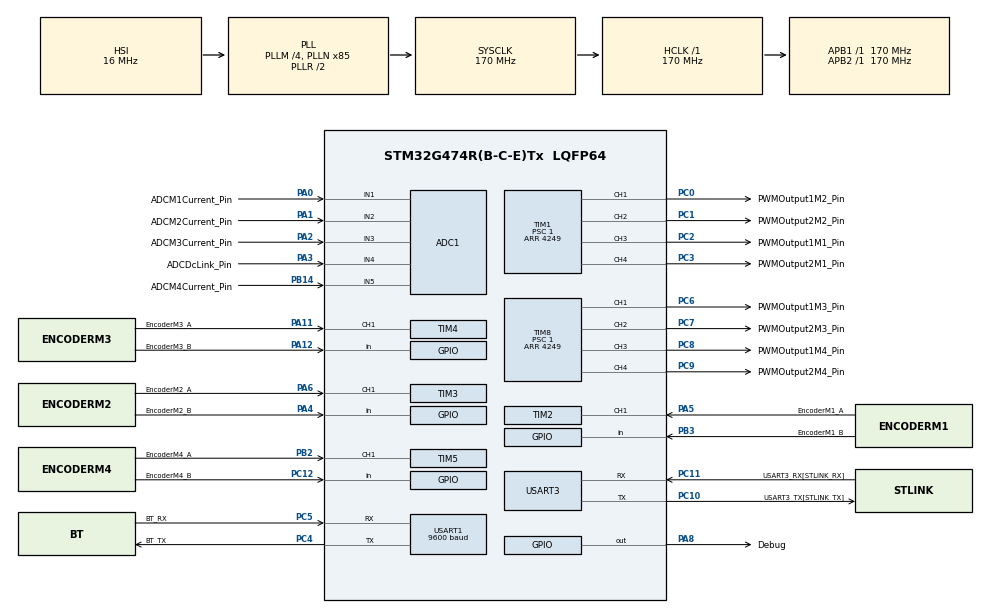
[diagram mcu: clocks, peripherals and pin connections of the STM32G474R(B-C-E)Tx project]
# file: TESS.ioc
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ADC1.Channel-0\#ChannelRegularConversion=ADC_CHANNEL_1
ADC1.Channel-5\#ChannelRegularConversion=ADC_CHANNEL_2
ADC1.Channel-6\#ChannelRegularConversion=ADC_CHANNEL_3
ADC1.Channel-7\#ChannelRegularConversion=ADC_CHANNEL_4
ADC1.Channel-8\#ChannelRegularConversion=ADC_CHANNEL_5
ADC1.ClockPrescaler=ADC_CLOCK_SYNC_PCLK_DIV4
ADC1.ContinuousConvMode=DISABLE
ADC1.DMAContinuousRequests=ENABLE
ADC1.EOCSelection=ADC_EOC_SEQ_CONV
ADC1.EnableInjectedConversion=DISABLE
ADC1.ExternalTrigConv=ADC_EXTERNALTRIG_T1_TRGO
ADC1.GainCompensation=3300
ADC1.NbrOfConversion=5
ADC1.NbrOfConversionFlag=1
ADC1.OffsetNumber-0\#ChannelRegularConversion=ADC_OFFSET_NONE
ADC1.OffsetNumber-5\#ChannelRegularConversion=ADC_OFFSET_NONE
ADC1.OffsetNumber-6\#ChannelRegularConversion=ADC_OFFSET_NONE
ADC1.OffsetNumber-7\#ChannelRegularConversion=ADC_OFFSET_NONE
ADC1.OffsetNumber-8\#ChannelRegularConversion=ADC_OFFSET_NONE
ADC1.OversamplingMode=DISABLE
ADC1.Rank-0\#ChannelRegularConversion=1
ADC1.Rank-5\#ChannelRegularConversion=2
ADC1.Rank-6\#ChannelRegularConversion=3
ADC1.Rank-7\#ChannelRegularConversion=4
ADC1.Rank-8\#ChannelRegularConversion=5
ADC1.SamplingTime-0\#ChannelRegularConversion=ADC_SAMPLETIME_640CYCLES_5
ADC1.SamplingTime-5\#ChannelRegularConversion=ADC_SAMPLETIME_640CYCLES_5
ADC1.SamplingTime-6\#ChannelRegularConversion=ADC_SAMPLETIME_640CYCLES_5
ADC1.SamplingTime-7\#ChannelRegularConversion=ADC_SAMPLETIME_640CYCLES_5
ADC1.SamplingTime-8\#ChannelRegularConversion=ADC_SAMPLETIME_640CYCLES_5
ADC1.master=1
Dma.ADC1.0.Direction=DMA_PERIPH_TO_MEMORY
Dma.ADC1.0.EventEnable=DISABLE
Dma.ADC1.0.Instance=DMA1_Channel1
Dma.ADC1.0.MemDataAlignment=DMA_MDATAALIGN_HALFWORD
Dma.ADC1.0.MemInc=DMA_MINC_ENABLE
Dma.ADC1.0.Mode=DMA_CIRCULAR
Dma.ADC1.0.PeriphDataAlignment=DMA_PDATAALIGN_HALFWORD
Dma.ADC1.0.PeriphInc=DMA_PINC_DISABLE
Dma.ADC1.0.Polarity=HAL_DMAMUX_REQ_GEN_RISING
Dma.ADC1.0.Priority=DMA_PRIORITY_MEDIUM
Dma.ADC1.0.RequestNumber=1
Dma.ADC1.0.SignalID=NONE
Dma.ADC1.0.SyncEnable=DISABLE
Dma.ADC1.0.SyncPolarity=HAL_DMAMUX_SYNC_NO_EVENT
Dma.ADC1.0.SyncRequestNumber=1
Dma.ADC1.0.SyncSignalID=NONE
Dma.Request0=ADC1
Dma.Request1=USART1_RX
Dma.USART1_RX.1.Direction=DMA_PERIPH_TO_MEMORY
Dma.USART1_RX.1.EventEnable=DISABLE
Dma.USART1_RX.1.Instance=DMA1_Channel2
Dma.USART1_RX.1.MemDataAlignment=DMA_MDATAALIGN_BYTE
Dma.USART1_RX.1.MemInc=DMA_MINC_ENABLE
Dma.USART1_RX.1.Mode=DMA_CIRCULAR
Dma.USART1_RX.1.PeriphDataAlignment=DMA_PDATAALIGN_BYTE
Dma.USART1_RX.1.PeriphInc=DMA_PINC_DISABLE
Dma.USART1_RX.1.Polarity=HAL_DMAMUX_REQ_GEN_RISING
Dma.USART1_RX.1.Priority=DMA_PRIORITY_LOW
Dma.USART1_RX.1.RequestNumber=1
Dma.USART1_RX.1.SignalID=NONE
Dma.USART1_RX.1.SyncEnable=DISABLE
Dma.USART1_RX.1.SyncPolarity=HAL_DMAMUX_SYNC_NO_EVENT
Dma.USART1_RX.1.SyncRequestNumber=1
Dma.USART1_RX.1.SyncSignalID=NONE
Mcu.Family=STM32G4
Mcu.Name=STM32G474R(B-C-E)Tx
Mcu.Package=LQFP64
NVIC.ADC1_2_IRQn=true\:0\:2\:false\:false\:true\:true\:true\:true
NVIC.DMA1_Channel1_IRQn=true\:0\:1\:false\:false\:true\:true\:true\:true
NVIC.DMA1_Channel2_IRQn=true\:0\:3\:true\:false\:true\:true\:true\:true
NVIC.PriorityGroup=NVIC_PRIORITYGROUP_2
NVIC.TIM2_IRQn=true\:1\:0\:true\:false\:true\:true\:true\:true
NVIC.TIM3_IRQn=true\:1\:1\:true\:false\:true\:true\:true\:true
NVIC.TIM4_IRQn=true\:1\:2\:true\:false\:true\:true\:true\:true
NVIC.TIM5_IRQn=true\:1\:3\:true\:false\:true\:true\:true\:true
NVIC.TIM6_DAC_IRQn=true\:3\:0\:false\:false\:true\:false\:true\:true
NVIC.TimeBase=TIM6_DAC_IRQn
NVIC.TimeBaseIP=TIM6
NVIC.USART1_IRQn=true\:2\:0\:true\:false\:true\:true\:true\:true
NVIC.USART3_IRQn=true\:2\:1\:true\:false\:true\:true\:true\:true
PA0.GPIO_Label=ADCM1Current_Pin
PA0.Mode=IN1-Single-Ended
PA0.Signal=ADC1_IN1
PA1.GPIO_Label=ADCM2Current_Pin
PA1.Mode=IN2-Single-Ended
PA1.Signal=ADC1_IN2
PA11.GPIO_Label=EncoderM3_A
PA11.GPIO_Speed=GPIO_SPEED_FREQ_MEDIUM
PA11.Signal=S_TIM4_CH1
PA12.GPIO_Label=EncoderM3_B
PA12.Signal=GPIO_Input
PA13.Mode=Serial_Wire
PA13.Signal=SYS_JTMS-SWDIO
PA14.Mode=Serial_Wire
PA14.Signal=SYS_JTCK-SWCLK
PA2.GPIO_Label=ADCM3Current_Pin
PA2.Mode=IN3-Single-Ended
PA2.Signal=ADC1_IN3
PA3.GPIO_Label=ADCDcLink_Pin
PA3.Mode=IN4-Single-Ended
PA3.Signal=ADC1_IN4
PA4.GPIO_Label=EncoderM2_B
PA4.Signal=GPIO_Input
PA5.GPIO_Label=EncoderM1_A
PA5.GPIO_Speed=GPIO_SPEED_FREQ_MEDIUM
PA5.Signal=S_TIM2_CH1
PA6.GPIO_Label=EncoderM2_A
PA6.GPIO_Speed=GPIO_SPEED_FREQ_MEDIUM
PA6.Signal=S_TIM3_CH1
PA8.GPIO_Label=Debug
PA8.Signal=GPIO_Output
PB14.GPIO_Label=ADCM4Current_Pin
PB14.Mode=IN5-Single-Ended
PB14.Signal=ADC1_IN5
PB2.GPIO_Label=EncoderM4_A
PB2.GPIO_Speed=GPIO_SPEED_FREQ_MEDIUM
PB2.Signal=S_TIM5_CH1
PB3.GPIO_Label=EncoderM1_B
PB3.Signal=GPIO_Input
PC0.GPIO_Label=PWMOutput1M2_Pin
PC0.GPIO_Speed=GPIO_SPEED_FREQ_MEDIUM
PC0.Signal=S_TIM1_CH1
PC1.GPIO_Label=PWMOutput2M2_Pin
PC1.GPIO_Speed=GPIO_SPEED_FREQ_MEDIUM
PC1.Signal=S_TIM1_CH2
PC10.GPIO_Label=USART3_TX[STLINK_TX]
PC10.GPIO_Speed=GPIO_SPEED_FREQ_MEDIUM
PC10.Mode=Asynchronous
PC10.Signal=USART3_TX
PC11.GPIO_Label=USART3_RX[STLINK_RX]
PC11.GPIO_Speed=GPIO_SPEED_FREQ_MEDIUM
PC11.Mode=Asynchronous
PC11.Signal=USART3_RX
PC12.GPIO_Label=EncoderM4_B
PC12.Signal=GPIO_Input
PC2.GPIO_Label=PWMOutput1M1_Pin
PC2.GPIO_Speed=GPIO_SPEED_FREQ_MEDIUM
PC2.Signal=S_TIM1_CH3
PC3.GPIO_Label=PWMOutput2M1_Pin
PC3.GPIO_Speed=GPIO_SPEED_FREQ_MEDIUM
PC3.Signal=S_TIM1_CH4
PC4.GPIO_Label=BT_TX
PC4.Mode=Asynchronous
PC4.Signal=USART1_TX
PC5.GPIO_Label=BT_RX
PC5.Mode=Asynchronous
PC5.Signal=USART1_RX
PC6.GPIO_Label=PWMOutput1M3_Pin
PC6.GPIO_Speed=GPIO_SPEED_FREQ_MEDIUM
PC6.Signal=S_TIM8_CH1
PC7.GPIO_Label=PWMOutput2M3_Pin
PC7.GPIO_Speed=GPIO_SPEED_FREQ_MEDIUM
PC7.Signal=S_TIM8_CH2
PC8.GPIO_Label=PWMOutput1M4_Pin
PC8.GPIO_Speed=GPIO_SPEED_FREQ_MEDIUM
PC8.Signal=S_TIM8_CH3
PC9.GPIO_Label=PWMOutput2M4_Pin
PC9.GPIO_Speed=GPIO_SPEED_FREQ_MEDIUM
PC9.Signal=S_TIM8_CH4
ProjectManager.HeapSize=0x200
ProjectManager.StackSize=0x400
ProjectManager.TargetToolchain=STM32CubeIDE
RCC.ADC12Freq_Value=170000000
RCC.ADC345Freq_Value=170000000
RCC.AHBFreq_Value=170000000
RCC.APB1Freq_Value=170000000
RCC.APB1TimFreq_Value=170000000
RCC.APB2Freq_Value=170000000
RCC.APB2TimFreq_Value=170000000
RCC.CK48CLockSelection=RCC_USBCLKSOURCE_HSI48
RCC.CortexFreq_Value=170000000
RCC.EXTERNAL_CLOCK_VALUE=12288000
RCC.HCLKFreq_Value=170000000
RCC.HSE_VALUE=8000000
RCC.HSI48_VALUE=48000000
RCC.HSI_VALUE=16000000
RCC.LSE_VALUE=32768
RCC.PLLM=RCC_PLLM_DIV4
RCC.PLLN=85
RCC.PLLP=RCC_PLLP_DIV8
RCC.PLLQ=RCC_PLLQ_DIV8
RCC.SYSCLKFreq_VALUE=170000000
RCC.SYSCLKSource=RCC_SYSCLKSOURCE_PLLCLK
RCC.USBFreq_Value=48000000
RCC.VCOOutputFreq_Value=340000000
SH.S_TIM1_CH1.0=TIM1_CH1,PWM Generation1 CH1
SH.S_TIM1_CH2.0=TIM1_CH2,PWM Generation2 CH2
SH.S_TIM1_CH3.0=TIM1_CH3,PWM Generation3 CH3
SH.S_TIM1_CH4.0=TIM1_CH4,PWM Generation4 CH4
SH.S_TIM2_CH1.0=TIM2_CH1,PWM_Input_1
SH.S_TIM3_CH1.0=TIM3_CH1,PWM_Input_1
SH.S_TIM4_CH1.0=TIM4_CH1,PWM_Input_1
SH.S_TIM5_CH1.0=TIM5_CH1,PWM_Input_1
SH.S_TIM8_CH1.0=TIM8_CH1,PWM Generation1 CH1
SH.S_TIM8_CH2.0=TIM8_CH2,PWM Generation2 CH2
SH.S_TIM8_CH3.0=TIM8_CH3,PWM Generation3 CH3
SH.S_TIM8_CH4.0=TIM8_CH4,PWM Generation4 CH4
TIM1.Channel-PWM\ Generation1\ CH1=TIM_CHANNEL_1
TIM1.Channel-PWM\ Generation2\ CH2=TIM_CHANNEL_2
TIM1.Channel-PWM\ Generation3\ CH3=TIM_CHANNEL_3
TIM1.Channel-PWM\ Generation4\ CH4=TIM_CHANNEL_4
TIM1.CounterMode=TIM_COUNTERMODE_CENTERALIGNED2
TIM1.Dithering=Disable
TIM1.OCMode_PWM-PWM\ Generation2\ CH2=TIM_OCMODE_PWM1
TIM1.OCMode_PWM-PWM\ Generation4\ CH4=TIM_OCMODE_PWM1
TIM1.PeriodNoDither=4249
TIM1.Prescaler=1
TIM1.PulseNoDither_1=0
TIM1.PulseNoDither_2=0
TIM1.RepetitionCounter=3
TIM1.TIM_MasterOutputTrigger=TIM_TRGO_UPDATE
TIM1.TIM_MasterOutputTrigger2=TIM_TRGO2_ENABLE
TIM1.TIM_MasterSlaveMode=TIM_MASTERSLAVEMODE_ENABLE
TIM2.PeriodNoDither=65535
TIM2.Prescaler=399
TIM3.Prescaler=399
TIM4.Prescaler=399
TIM5.PeriodNoDither=65535
TIM5.Prescaler=399
TIM8.Channel-PWM\ Generation1\ CH1=TIM_CHANNEL_1
TIM8.Channel-PWM\ Generation2\ CH2=TIM_CHANNEL_2
TIM8.Channel-PWM\ Generation3\ CH3=TIM_CHANNEL_3
TIM8.Channel-PWM\ Generation4\ CH4=TIM_CHANNEL_4
TIM8.CounterMode=TIM_COUNTERMODE_CENTERALIGNED2
TIM8.Dithering=Disable
TIM8.PeriodNoDither=4249
TIM8.Prescaler=1
TIM8.RepetitionCounter=1
TIM8.TIM_MasterSlaveMode=TIM_MASTERSLAVEMODE_DISABLE
USART1.BaudRate=9600
USART1.DMADisableonRxErrorParam=ADVFEATURE_DMA_DISABLEONRXERROR
USART1.FIFOMode=FIFOMODE_DISABLE
USART1.Mode=MODE_RX
USART1.VirtualMode-Asynchronous=VM_ASYNC
USART3.ClockPrescaler=PRESCALER_DIV4
USART3.VirtualMode-Asynchronous=VM_ASYNC
USART3.WordLength=WORDLENGTH_8B
VP_ADC1_Vref_Input.Mode=IN-Vrefint
VP_SYS_VS_DBSignals.Mode=DisableDeadBatterySignals
VP_SYS_VS_tim6.Mode=TIM6
VP_TIM1_VS_ClockSourceINT.Mode=Internal
VP_TIM8_VS_ClockSourceINT.Mode=Internal
VP_TIM8_VS_ClockSourceITR.Mode=TriggerSource_ITR0
VP_TIM8_VS_ControllerModeTrigger.Mode=Trigger Mode
board=B-G474E-DPOW1

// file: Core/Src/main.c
/* USER CODE BEGIN Header */
/**
  ******************************************************************************
  * @file           : main.c
  * @brief          : Main program body
  ******************************************************************************
  * @attention
  *
  * <h2><center>&copy; Copyright (c) 2021 STMicroelectronics.
  * All rights reserved.</center></h2>
  *
  * This software component is licensed by ST under BSD 3-Clause license,
  * the "License"; You may not use this file except in compliance with the
  * License. You may obtain a copy of the License at:
  *                        opensource.org/licenses/BSD-3-Clause
  *
  ******************************************************************************
  */
/* USER CODE END Header */
#include "main.h"

/* USER CODE BEGIN Includes */
#include "tess_main.h"
/* USER CODE END Includes */

 ADC_HandleTypeDef hadc1;
DMA_HandleTypeDef hdma_adc1;

TIM_HandleTypeDef htim1;
TIM_HandleTypeDef htim2;
TIM_HandleTypeDef htim3;
TIM_HandleTypeDef htim4;
TIM_HandleTypeDef htim5;
TIM_HandleTypeDef htim8;

UART_HandleTypeDef huart1;
UART_HandleTypeDef huart3;
DMA_HandleTypeDef hdma_usart1_rx;

void SystemClock_Config(void);
static void MX_GPIO_Init(void);
static void MX_DMA_Init(void);
static void MX_USART3_UART_Init(void);
static void MX_TIM1_Init(void);
static void MX_ADC1_Init(void);
static void MX_TIM8_Init(void);
static void MX_USART1_UART_Init(void);
static void MX_TIM2_Init(void);
static void MX_TIM3_Init(void);
static void MX_TIM4_Init(void);
static void MX_TIM5_Init(void);

int main(void)
{

  /* MCU Configuration--------------------------------------------------------*/

  /* Reset of all peripherals, Initializes the Flash interface and the Systick. */
  HAL_Init();

  /* Configure the system clock */
  SystemClock_Config();

  /* Initialize all configured peripherals */
  MX_GPIO_Init();
  MX_DMA_Init();
  MX_USART3_UART_Init();
  MX_TIM1_Init();
  MX_ADC1_Init();
  MX_TIM8_Init();
  MX_USART1_UART_Init();
  MX_TIM2_Init();
  MX_TIM3_Init();
  MX_TIM4_Init();
  MX_TIM5_Init();
  /* USER CODE BEGIN 2 */
  TessMainInit();

  /* USER CODE END 2 */

  /* Infinite loop */
  while (1)
  {

  }
}

void SystemClock_Config(void)
{
  RCC_OscInitTypeDef RCC_OscInitStruct = {0};
  RCC_ClkInitTypeDef RCC_ClkInitStruct = {0};

  /** Configure the main internal regulator output voltage
  */
  HAL_PWREx_ControlVoltageScaling(PWR_REGULATOR_VOLTAGE_SCALE1_BOOST);

  /** Initializes the RCC Oscillators according to the specified parameters
  * in the RCC_OscInitTypeDef structure.
  */
  RCC_OscInitStruct.OscillatorType = RCC_OSCILLATORTYPE_HSI;
  RCC_OscInitStruct.HSIState = RCC_HSI_ON;
  RCC_OscInitStruct.HSICalibrationValue = RCC_HSICALIBRATION_DEFAULT;
  RCC_OscInitStruct.PLL.PLLState = RCC_PLL_ON;
  RCC_OscInitStruct.PLL.PLLSource = RCC_PLLSOURCE_HSI;
  RCC_OscInitStruct.PLL.PLLM = RCC_PLLM_DIV4;
  RCC_OscInitStruct.PLL.PLLN = 85;
  RCC_OscInitStruct.PLL.PLLP = RCC_PLLP_DIV8;
  RCC_OscInitStruct.PLL.PLLQ = RCC_PLLQ_DIV8;
  RCC_OscInitStruct.PLL.PLLR = RCC_PLLR_DIV2;
  if (HAL_RCC_OscConfig(&RCC_OscInitStruct) != HAL_OK)
  {
    Error_Handler();
  }

  /** Initializes the CPU, AHB and APB buses clocks
  */
  RCC_ClkInitStruct.ClockType = RCC_CLOCKTYPE_HCLK|RCC_CLOCKTYPE_SYSCLK
                              |RCC_CLOCKTYPE_PCLK1|RCC_CLOCKTYPE_PCLK2;
  RCC_ClkInitStruct.SYSCLKSource = RCC_SYSCLKSOURCE_PLLCLK;
  RCC_ClkInitStruct.AHBCLKDivider = RCC_SYSCLK_DIV1;
  RCC_ClkInitStruct.APB1CLKDivider = RCC_HCLK_DIV1;
  RCC_ClkInitStruct.APB2CLKDivider = RCC_HCLK_DIV1;

  if (HAL_RCC_ClockConfig(&RCC_ClkInitStruct, FLASH_LATENCY_4) != HAL_OK)
  {
    Error_Handler();
  }
}

static void MX_ADC1_Init(void)
{

  ADC_MultiModeTypeDef multimode = {0};
  ADC_ChannelConfTypeDef sConfig = {0};

  /** Common config
  */
  hadc1.Instance = ADC1;
  hadc1.Init.ClockPrescaler = ADC_CLOCK_SYNC_PCLK_DIV4;
  hadc1.Init.Resolution = ADC_RESOLUTION_12B;
  hadc1.Init.DataAlign = ADC_DATAALIGN_RIGHT;
  hadc1.Init.GainCompensation = 3300;
  hadc1.Init.ScanConvMode = ADC_SCAN_ENABLE;
  hadc1.Init.EOCSelection = ADC_EOC_SEQ_CONV;
  hadc1.Init.LowPowerAutoWait = DISABLE;
  hadc1.Init.ContinuousConvMode = DISABLE;
  hadc1.Init.NbrOfConversion = 5;
  hadc1.Init.DiscontinuousConvMode = DISABLE;
  hadc1.Init.ExternalTrigConv = ADC_EXTERNALTRIG_T1_TRGO;
  hadc1.Init.ExternalTrigConvEdge = ADC_EXTERNALTRIGCONVEDGE_RISING;
  hadc1.Init.DMAContinuousRequests = ENABLE;
  hadc1.Init.Overrun = ADC_OVR_DATA_PRESERVED;
  hadc1.Init.OversamplingMode = DISABLE;
  if (HAL_ADC_Init(&hadc1) != HAL_OK)
  {
    Error_Handler();
  }

  /** Configure the ADC multi-mode
  */
  multimode.Mode = ADC_MODE_INDEPENDENT;
  if (HAL_ADCEx_MultiModeConfigChannel(&hadc1, &multimode) != HAL_OK)
  {
    Error_Handler();
  }

  /** Configure Regular Channel
  */
  sConfig.Channel = ADC_CHANNEL_1;
  sConfig.Rank = ADC_REGULAR_RANK_1;
  sConfig.SamplingTime = ADC_SAMPLETIME_640CYCLES_5;
  sConfig.SingleDiff = ADC_SINGLE_ENDED;
  sConfig.OffsetNumber = ADC_OFFSET_NONE;
  sConfig.Offset = 0;
  if (HAL_ADC_ConfigChannel(&hadc1, &sConfig) != HAL_OK)
  {
    Error_Handler();
  }

  /** Configure Regular Channel
  */
  sConfig.Channel = ADC_CHANNEL_2;
  sConfig.Rank = ADC_REGULAR_RANK_2;
  if (HAL_ADC_ConfigChannel(&hadc1, &sConfig) != HAL_OK)
  {
    Error_Handler();
  }

  /** Configure Regular Channel
  */
  sConfig.Channel = ADC_CHANNEL_3;
  sConfig.Rank = ADC_REGULAR_RANK_3;
  if (HAL_ADC_ConfigChannel(&hadc1, &sConfig) != HAL_OK)
  {
    Error_Handler();
  }

  /** Configure Regular Channel
  */
  sConfig.Channel = ADC_CHANNEL_4;
  sConfig.Rank = ADC_REGULAR_RANK_4;
  if (HAL_ADC_ConfigChannel(&hadc1, &sConfig) != HAL_OK)
  {
    Error_Handler();
  }

  /** Configure Regular Channel
  */
  sConfig.Channel = ADC_CHANNEL_5;
  sConfig.Rank = ADC_REGULAR_RANK_5;
  if (HAL_ADC_ConfigChannel(&hadc1, &sConfig) != HAL_OK)
  {
    Error_Handler();
  }
  /* USER CODE BEGIN ADC1_Init 2 */

  if (HAL_OK == HAL_ADCEx_Calibration_Start(&hadc1,ADC_SINGLE_ENDED))
  {
      ADC_Enable(&hadc1);
      HAL_ADCEx_Calibration_SetValue(&hadc1,ADC_SINGLE_ENDED, HAL_ADCEx_Calibration_GetValue(&hadc1,ADC_SINGLE_ENDED));
      ADC_Disable(&hadc1);
  }

  HAL_ADC_Start_DMA(&hadc1, AdcDmaBuffer, ADC_DMA_BUFFER_SIZE);
  __HAL_DMA_DISABLE_IT(&hdma_adc1, DMA_IT_HT);
  /* USER CODE END ADC1_Init 2 */

}

static void MX_TIM1_Init(void)
{

  TIM_ClockConfigTypeDef sClockSourceConfig = {0};
  TIM_MasterConfigTypeDef sMasterConfig = {0};
  TIM_OC_InitTypeDef sConfigOC = {0};
  TIM_BreakDeadTimeConfigTypeDef sBreakDeadTimeConfig = {0};

  htim1.Instance = TIM1;
  htim1.Init.Prescaler = 1;
  htim1.Init.CounterMode = TIM_COUNTERMODE_CENTERALIGNED2;
  htim1.Init.Period = 4249;
  htim1.Init.ClockDivision = TIM_CLOCKDIVISION_DIV1;
  htim1.Init.RepetitionCounter = 3;
  htim1.Init.AutoReloadPreload = TIM_AUTORELOAD_PRELOAD_DISABLE;
  if (HAL_TIM_Base_Init(&htim1) != HAL_OK)
  {
    Error_Handler();
  }
  sClockSourceConfig.ClockSource = TIM_CLOCKSOURCE_INTERNAL;
  if (HAL_TIM_ConfigClockSource(&htim1, &sClockSourceConfig) != HAL_OK)
  {
    Error_Handler();
  }
  if (HAL_TIM_PWM_Init(&htim1) != HAL_OK)
  {
    Error_Handler();
  }
  sMasterConfig.MasterOutputTrigger = TIM_TRGO_UPDATE;
  sMasterConfig.MasterOutputTrigger2 = TIM_TRGO2_ENABLE;
  sMasterConfig.MasterSlaveMode = TIM_MASTERSLAVEMODE_ENABLE;
  if (HAL_TIMEx_MasterConfigSynchronization(&htim1, &sMasterConfig) != HAL_OK)
  {
    Error_Handler();
  }
  sConfigOC.OCMode = TIM_OCMODE_PWM1;
  sConfigOC.Pulse = 0;
  sConfigOC.OCPolarity = TIM_OCPOLARITY_HIGH;
  sConfigOC.OCNPolarity = TIM_OCNPOLARITY_HIGH;
  sConfigOC.OCFastMode = TIM_OCFAST_DISABLE;
  sConfigOC.OCIdleState = TIM_OCIDLESTATE_RESET;
  sConfigOC.OCNIdleState = TIM_OCNIDLESTATE_RESET;
  if (HAL_TIM_PWM_ConfigChannel(&htim1, &sConfigOC, TIM_CHANNEL_1) != HAL_OK)
  {
    Error_Handler();
  }
  if (HAL_TIM_PWM_ConfigChannel(&htim1, &sConfigOC, TIM_CHANNEL_2) != HAL_OK)
  {
    Error_Handler();
  }
  if (HAL_TIM_PWM_ConfigChannel(&htim1, &sConfigOC, TIM_CHANNEL_3) != HAL_OK)
  {
    Error_Handler();
  }
  if (HAL_TIM_PWM_ConfigChannel(&htim1, &sConfigOC, TIM_CHANNEL_4) != HAL_OK)
  {
    Error_Handler();
  }
  sBreakDeadTimeConfig.OffStateRunMode = TIM_OSSR_DISABLE;
  sBreakDeadTimeConfig.OffStateIDLEMode = TIM_OSSI_DISABLE;
  sBreakDeadTimeConfig.LockLevel = TIM_LOCKLEVEL_OFF;
  sBreakDeadTimeConfig.DeadTime = 0;
  sBreakDeadTimeConfig.BreakState = TIM_BREAK_DISABLE;
  sBreakDeadTimeConfig.BreakPolarity = TIM_BREAKPOLARITY_HIGH;
  sBreakDeadTimeConfig.BreakFilter = 0;
  sBreakDeadTimeConfig.BreakAFMode = TIM_BREAK_AFMODE_INPUT;
  sBreakDeadTimeConfig.Break2State = TIM_BREAK2_DISABLE;
  sBreakDeadTimeConfig.Break2Polarity = TIM_BREAK2POLARITY_HIGH;
  sBreakDeadTimeConfig.Break2Filter = 0;
  sBreakDeadTimeConfig.Break2AFMode = TIM_BREAK_AFMODE_INPUT;
  sBreakDeadTimeConfig.AutomaticOutput = TIM_AUTOMATICOUTPUT_DISABLE;
  if (HAL_TIMEx_ConfigBreakDeadTime(&htim1, &sBreakDeadTimeConfig) != HAL_OK)
  {
    Error_Handler();
  }
  HAL_TIM_MspPostInit(&htim1);

}

static void MX_TIM2_Init(void)
{

  TIM_SlaveConfigTypeDef sSlaveConfig = {0};
  TIM_IC_InitTypeDef sConfigIC = {0};
  TIM_MasterConfigTypeDef sMasterConfig = {0};

  htim2.Instance = TIM2;
  htim2.Init.Prescaler = 399;
  htim2.Init.CounterMode = TIM_COUNTERMODE_UP;
  htim2.Init.Period = 65535;
  htim2.Init.ClockDivision = TIM_CLOCKDIVISION_DIV1;
  htim2.Init.AutoReloadPreload = TIM_AUTORELOAD_PRELOAD_DISABLE;
  if (HAL_TIM_IC_Init(&htim2) != HAL_OK)
  {
    Error_Handler();
  }
  sSlaveConfig.SlaveMode = TIM_SLAVEMODE_RESET;
  sSlaveConfig.InputTrigger = TIM_TS_TI1FP1;
  sSlaveConfig.TriggerPolarity = TIM_INPUTCHANNELPOLARITY_RISING;
  sSlaveConfig.TriggerPrescaler = TIM_ICPSC_DIV1;
  sSlaveConfig.TriggerFilter = 0;
  if (HAL_TIM_SlaveConfigSynchro(&htim2, &sSlaveConfig) != HAL_OK)
  {
    Error_Handler();
  }
  sConfigIC.ICPolarity = TIM_INPUTCHANNELPOLARITY_RISING;
  sConfigIC.ICSelection = TIM_ICSELECTION_DIRECTTI;
  sConfigIC.ICPrescaler = TIM_ICPSC_DIV1;
  sConfigIC.ICFilter = 0;
  if (HAL_TIM_IC_ConfigChannel(&htim2, &sConfigIC, TIM_CHANNEL_1) != HAL_OK)
  {
    Error_Handler();
  }
  sConfigIC.ICPolarity = TIM_INPUTCHANNELPOLARITY_FALLING;
  sConfigIC.ICSelection = TIM_ICSELECTION_INDIRECTTI;
  if (HAL_TIM_IC_ConfigChannel(&htim2, &sConfigIC, TIM_CHANNEL_2) != HAL_OK)
  {
    Error_Handler();
  }
  sMasterConfig.MasterOutputTrigger = TIM_TRGO_RESET;
  sMasterConfig.MasterSlaveMode = TIM_MASTERSLAVEMODE_DISABLE;
  if (HAL_TIMEx_MasterConfigSynchronization(&htim2, &sMasterConfig) != HAL_OK)
  {
    Error_Handler();
  }
  /* USER CODE BEGIN TIM2_Init 2 */
  HAL_TIM_IC_Start_IT(&htim2, TIM_CHANNEL_1);
  /* USER CODE END TIM2_Init 2 */

}

static void MX_TIM3_Init(void)
{

  TIM_SlaveConfigTypeDef sSlaveConfig = {0};
  TIM_IC_InitTypeDef sConfigIC = {0};
  TIM_MasterConfigTypeDef sMasterConfig = {0};

  htim3.Instance = TIM3;
  htim3.Init.Prescaler = 399;
  htim3.Init.CounterMode = TIM_COUNTERMODE_UP;
  htim3.Init.Period = 65535;
  htim3.Init.ClockDivision = TIM_CLOCKDIVISION_DIV1;
  htim3.Init.AutoReloadPreload = TIM_AUTORELOAD_PRELOAD_DISABLE;
  if (HAL_TIM_IC_Init(&htim3) != HAL_OK)
  {
    Error_Handler();
  }
  sSlaveConfig.SlaveMode = TIM_SLAVEMODE_RESET;
  sSlaveConfig.InputTrigger = TIM_TS_TI1FP1;
  sSlaveConfig.TriggerPolarity = TIM_INPUTCHANNELPOLARITY_RISING;
  sSlaveConfig.TriggerPrescaler = TIM_ICPSC_DIV1;
  sSlaveConfig.TriggerFilter = 0;
  if (HAL_TIM_SlaveConfigSynchro(&htim3, &sSlaveConfig) != HAL_OK)
  {
    Error_Handler();
  }
  sConfigIC.ICPolarity = TIM_INPUTCHANNELPOLARITY_RISING;
  sConfigIC.ICSelection = TIM_ICSELECTION_DIRECTTI;
  sConfigIC.ICPrescaler = TIM_ICPSC_DIV1;
  sConfigIC.ICFilter = 0;
  if (HAL_TIM_IC_ConfigChannel(&htim3, &sConfigIC, TIM_CHANNEL_1) != HAL_OK)
  {
    Error_Handler();
  }
  sConfigIC.ICPolarity = TIM_INPUTCHANNELPOLARITY_FALLING;
  sConfigIC.ICSelection = TIM_ICSELECTION_INDIRECTTI;
  if (HAL_TIM_IC_ConfigChannel(&htim3, &sConfigIC, TIM_CHANNEL_2) != HAL_OK)
  {
    Error_Handler();
  }
  sMasterConfig.MasterOutputTrigger = TIM_TRGO_RESET;
  sMasterConfig.MasterSlaveMode = TIM_MASTERSLAVEMODE_DISABLE;
  if (HAL_TIMEx_MasterConfigSynchronization(&htim3, &sMasterConfig) != HAL_OK)
  {
    Error_Handler();
  }
  /* USER CODE BEGIN TIM3_Init 2 */
  HAL_TIM_IC_Start_IT(&htim3, TIM_CHANNEL_1);
  /* USER CODE END TIM3_Init 2 */

}

static void MX_TIM4_Init(void)
{

  TIM_SlaveConfigTypeDef sSlaveConfig = {0};
  TIM_IC_InitTypeDef sConfigIC = {0};
  TIM_MasterConfigTypeDef sMasterConfig = {0};

  htim4.Instance = TIM4;
  htim4.Init.Prescaler = 399;
  htim4.Init.CounterMode = TIM_COUNTERMODE_UP;
  htim4.Init.Period = 65535;
  htim4.Init.ClockDivision = TIM_CLOCKDIVISION_DIV1;
  htim4.Init.AutoReloadPreload = TIM_AUTORELOAD_PRELOAD_DISABLE;
  if (HAL_TIM_IC_Init(&htim4) != HAL_OK)
  {
    Error_Handler();
  }
  sSlaveConfig.SlaveMode = TIM_SLAVEMODE_RESET;
  sSlaveConfig.InputTrigger = TIM_TS_TI1FP1;
  sSlaveConfig.TriggerPolarity = TIM_INPUTCHANNELPOLARITY_RISING;
  sSlaveConfig.TriggerPrescaler = TIM_ICPSC_DIV1;
  sSlaveConfig.TriggerFilter = 0;
  if (HAL_TIM_SlaveConfigSynchro(&htim4, &sSlaveConfig) != HAL_OK)
  {
    Error_Handler();
  }
  sConfigIC.ICPolarity = TIM_INPUTCHANNELPOLARITY_RISING;
  sConfigIC.ICSelection = TIM_ICSELECTION_DIRECTTI;
  sConfigIC.ICPrescaler = TIM_ICPSC_DIV1;
  sConfigIC.ICFilter = 0;
  if (HAL_TIM_IC_ConfigChannel(&htim4, &sConfigIC, TIM_CHANNEL_1) != HAL_OK)
  {
    Error_Handler();
  }
  sConfigIC.ICPolarity = TIM_INPUTCHANNELPOLARITY_FALLING;
  sConfigIC.ICSelection = TIM_ICSELECTION_INDIRECTTI;
  if (HAL_TIM_IC_ConfigChannel(&htim4, &sConfigIC, TIM_CHANNEL_2) != HAL_OK)
  {
    Error_Handler();
  }
  sMasterConfig.MasterOutputTrigger = TIM_TRGO_RESET;
  sMasterConfig.MasterSlaveMode = TIM_MASTERSLAVEMODE_DISABLE;
  if (HAL_TIMEx_MasterConfigSynchronization(&htim4, &sMasterConfig) != HAL_OK)
  {
    Error_Handler();
  }
  /* USER CODE BEGIN TIM4_Init 2 */
  HAL_TIM_IC_Start_IT(&htim4, TIM_CHANNEL_1);
  /* USER CODE END TIM4_Init 2 */

}

static void MX_TIM5_Init(void)
{

  TIM_SlaveConfigTypeDef sSlaveConfig = {0};
  TIM_IC_InitTypeDef sConfigIC = {0};
  TIM_MasterConfigTypeDef sMasterConfig = {0};

  htim5.Instance = TIM5;
  htim5.Init.Prescaler = 399;
  htim5.Init.CounterMode = TIM_COUNTERMODE_UP;
  htim5.Init.Period = 65535;
  htim5.Init.ClockDivision = TIM_CLOCKDIVISION_DIV1;
  htim5.Init.AutoReloadPreload = TIM_AUTORELOAD_PRELOAD_DISABLE;
  if (HAL_TIM_IC_Init(&htim5) != HAL_OK)
  {
    Error_Handler();
  }
  sSlaveConfig.SlaveMode = TIM_SLAVEMODE_RESET;
  sSlaveConfig.InputTrigger = TIM_TS_TI1FP1;
  sSlaveConfig.TriggerPolarity = TIM_INPUTCHANNELPOLARITY_RISING;
  sSlaveConfig.TriggerPrescaler = TIM_ICPSC_DIV1;
  sSlaveConfig.TriggerFilter = 0;
  if (HAL_TIM_SlaveConfigSynchro(&htim5, &sSlaveConfig) != HAL_OK)
  {
    Error_Handler();
  }
  sConfigIC.ICPolarity = TIM_INPUTCHANNELPOLARITY_RISING;
  sConfigIC.ICSelection = TIM_ICSELECTION_DIRECTTI;
  sConfigIC.ICPrescaler = TIM_ICPSC_DIV1;
  sConfigIC.ICFilter = 0;
  if (HAL_TIM_IC_ConfigChannel(&htim5, &sConfigIC, TIM_CHANNEL_1) != HAL_OK)
  {
    Error_Handler();
  }
  sConfigIC.ICPolarity = TIM_INPUTCHANNELPOLARITY_FALLING;
  sConfigIC.ICSelection = TIM_ICSELECTION_INDIRECTTI;
  if (HAL_TIM_IC_ConfigChannel(&htim5, &sConfigIC, TIM_CHANNEL_2) != HAL_OK)
  {
    Error_Handler();
  }
  sMasterConfig.MasterOutputTrigger = TIM_TRGO_RESET;
  sMasterConfig.MasterSlaveMode = TIM_MASTERSLAVEMODE_DISABLE;
  if (HAL_TIMEx_MasterConfigSynchronization(&htim5, &sMasterConfig) != HAL_OK)
  {
    Error_Handler();
  }
  /* USER CODE BEGIN TIM5_Init 2 */
  HAL_TIM_IC_Start_IT(&htim5, TIM_CHANNEL_1);
  /* USER CODE END TIM5_Init 2 */

}

static void MX_TIM8_Init(void)
{

  TIM_ClockConfigTypeDef sClockSourceConfig = {0};
  TIM_SlaveConfigTypeDef sSlaveConfig = {0};
  TIM_MasterConfigTypeDef sMasterConfig = {0};
  TIM_OC_InitTypeDef sConfigOC = {0};
  TIM_BreakDeadTimeConfigTypeDef sBreakDeadTimeConfig = {0};

  htim8.Instance = TIM8;
  htim8.Init.Prescaler = 1;
  htim8.Init.CounterMode = TIM_COUNTERMODE_CENTERALIGNED2;
  htim8.Init.Period = 4249;
  htim8.Init.ClockDivision = TIM_CLOCKDIVISION_DIV1;
  htim8.Init.RepetitionCounter = 1;
  htim8.Init.AutoReloadPreload = TIM_AUTORELOAD_PRELOAD_DISABLE;
  if (HAL_TIM_Base_Init(&htim8) != HAL_OK)
  {
    Error_Handler();
  }
  sClockSourceConfig.ClockSource = TIM_CLOCKSOURCE_INTERNAL;
  if (HAL_TIM_ConfigClockSource(&htim8, &sClockSourceConfig) != HAL_OK)
  {
    Error_Handler();
  }
  if (HAL_TIM_PWM_Init(&htim8) != HAL_OK)
  {
    Error_Handler();
  }
  sSlaveConfig.SlaveMode = TIM_SLAVEMODE_TRIGGER;
  sSlaveConfig.InputTrigger = TIM_TS_ITR0;
  if (HAL_TIM_SlaveConfigSynchro(&htim8, &sSlaveConfig) != HAL_OK)
  {
    Error_Handler();
  }
  sMasterConfig.MasterOutputTrigger = TIM_TRGO_RESET;
  sMasterConfig.MasterOutputTrigger2 = TIM_TRGO2_RESET;
  sMasterConfig.MasterSlaveMode = TIM_MASTERSLAVEMODE_DISABLE;
  if (HAL_TIMEx_MasterConfigSynchronization(&htim8, &sMasterConfig) != HAL_OK)
  {
    Error_Handler();
  }
  sConfigOC.OCMode = TIM_OCMODE_PWM1;
  sConfigOC.Pulse = 0;
  sConfigOC.OCPolarity = TIM_OCPOLARITY_HIGH;
  sConfigOC.OCNPolarity = TIM_OCNPOLARITY_HIGH;
  sConfigOC.OCFastMode = TIM_OCFAST_DISABLE;
  sConfigOC.OCIdleState = TIM_OCIDLESTATE_RESET;
  sConfigOC.OCNIdleState = TIM_OCNIDLESTATE_RESET;
  if (HAL_TIM_PWM_ConfigChannel(&htim8, &sConfigOC, TIM_CHANNEL_1) != HAL_OK)
  {
    Error_Handler();
  }
  if (HAL_TIM_PWM_ConfigChannel(&htim8, &sConfigOC, TIM_CHANNEL_2) != HAL_OK)
  {
    Error_Handler();
  }
  if (HAL_TIM_PWM_ConfigChannel(&htim8, &sConfigOC, TIM_CHANNEL_3) != HAL_OK)
  {
    Error_Handler();
  }
  if (HAL_TIM_PWM_ConfigChannel(&htim8, &sConfigOC, TIM_CHANNEL_4) != HAL_OK)
  {
    Error_Handler();
  }
  sBreakDeadTimeConfig.OffStateRunMode = TIM_OSSR_DISABLE;
  sBreakDeadTimeConfig.OffStateIDLEMode = TIM_OSSI_DISABLE;
  sBreakDeadTimeConfig.LockLevel = TIM_LOCKLEVEL_OFF;
  sBreakDeadTimeConfig.DeadTime = 0;
  sBreakDeadTimeConfig.BreakState = TIM_BREAK_DISABLE;
  sBreakDeadTimeConfig.BreakPolarity = TIM_BREAKPOLARITY_HIGH;
  sBreakDeadTimeConfig.BreakFilter = 0;
  sBreakDeadTimeConfig.BreakAFMode = TIM_BREAK_AFMODE_INPUT;
  sBreakDeadTimeConfig.Break2State = TIM_BREAK2_DISABLE;
  sBreakDeadTimeConfig.Break2Polarity = TIM_BREAK2POLARITY_HIGH;
  sBreakDeadTimeConfig.Break2Filter = 0;
  sBreakDeadTimeConfig.Break2AFMode = TIM_BREAK_AFMODE_INPUT;
  sBreakDeadTimeConfig.AutomaticOutput = TIM_AUTOMATICOUTPUT_DISABLE;
  if (HAL_TIMEx_ConfigBreakDeadTime(&htim8, &sBreakDeadTimeConfig) != HAL_OK)
  {
    Error_Handler();
  }
  HAL_TIM_MspPostInit(&htim8);

}

static void MX_USART1_UART_Init(void)
{

  huart1.Instance = USART1;
  huart1.Init.BaudRate = 9600;
  huart1.Init.WordLength = UART_WORDLENGTH_8B;
  huart1.Init.StopBits = UART_STOPBITS_1;
  huart1.Init.Parity = UART_PARITY_NONE;
  huart1.Init.Mode = UART_MODE_RX;
  huart1.Init.HwFlowCtl = UART_HWCONTROL_NONE;
  huart1.Init.OverSampling = UART_OVERSAMPLING_16;
  huart1.Init.OneBitSampling = UART_ONE_BIT_SAMPLE_DISABLE;
  huart1.Init.ClockPrescaler = UART_PRESCALER_DIV1;
  huart1.AdvancedInit.AdvFeatureInit = UART_ADVFEATURE_DMADISABLEONERROR_INIT;
  huart1.AdvancedInit.DMADisableonRxError = UART_ADVFEATURE_DMA_DISABLEONRXERROR;
  if (HAL_UART_Init(&huart1) != HAL_OK)
  {
    Error_Handler();
  }
  if (HAL_UARTEx_SetTxFifoThreshold(&huart1, UART_TXFIFO_THRESHOLD_1_8) != HAL_OK)
  {
    Error_Handler();
  }
  if (HAL_UARTEx_SetRxFifoThreshold(&huart1, UART_RXFIFO_THRESHOLD_1_8) != HAL_OK)
  {
    Error_Handler();
  }
  if (HAL_UARTEx_DisableFifoMode(&huart1) != HAL_OK)
  {
    Error_Handler();
  }
  /* USER CODE BEGIN USART1_Init 2 */
  HAL_UART_Receive_DMA(&huart1,&TessBT_RX_Buff[0],TESS_BT_BUFF_LEN);
  /* USER CODE END USART1_Init 2 */

}

static void MX_USART3_UART_Init(void)
{

  huart3.Instance = USART3;
  huart3.Init.BaudRate = 115200;
  huart3.Init.WordLength = UART_WORDLENGTH_8B;
  huart3.Init.StopBits = UART_STOPBITS_1;
  huart3.Init.Parity = UART_PARITY_NONE;
  huart3.Init.Mode = UART_MODE_TX_RX;
  huart3.Init.HwFlowCtl = UART_HWCONTROL_NONE;
  huart3.Init.OverSampling = UART_OVERSAMPLING_16;
  huart3.Init.OneBitSampling = UART_ONE_BIT_SAMPLE_DISABLE;
  huart3.Init.ClockPrescaler = UART_PRESCALER_DIV4;
  huart3.AdvancedInit.AdvFeatureInit = UART_ADVFEATURE_NO_INIT;
  if (HAL_UART_Init(&huart3) != HAL_OK)
  {
    Error_Handler();
  }
  if (HAL_UARTEx_SetTxFifoThreshold(&huart3, UART_TXFIFO_THRESHOLD_1_8) != HAL_OK)
  {
    Error_Handler();
  }
  if (HAL_UARTEx_SetRxFifoThreshold(&huart3, UART_RXFIFO_THRESHOLD_1_8) != HAL_OK)
  {
    Error_Handler();
  }
  if (HAL_UARTEx_DisableFifoMode(&huart3) != HAL_OK)
  {
    Error_Handler();
  }

}

static void MX_DMA_Init(void)
{

  /* DMA controller clock enable */
  __HAL_RCC_DMAMUX1_CLK_ENABLE();
  __HAL_RCC_DMA1_CLK_ENABLE();

  /* DMA interrupt init */
  /* DMA1_Channel1_IRQn interrupt configuration */
  HAL_NVIC_SetPriority(DMA1_Channel1_IRQn, 0, 1);
  HAL_NVIC_EnableIRQ(DMA1_Channel1_IRQn);
  /* DMA1_Channel2_IRQn interrupt configuration */
  HAL_NVIC_SetPriority(DMA1_Channel2_IRQn, 0, 3);
  HAL_NVIC_EnableIRQ(DMA1_Channel2_IRQn);

}

static void MX_GPIO_Init(void)
{
  GPIO_InitTypeDef GPIO_InitStruct = {0};

  /* GPIO Ports Clock Enable */
  __HAL_RCC_GPIOC_CLK_ENABLE();
  __HAL_RCC_GPIOA_CLK_ENABLE();
  __HAL_RCC_GPIOB_CLK_ENABLE();

  /*Configure GPIO pin Output Level */
  HAL_GPIO_WritePin(Debug_GPIO_Port, Debug_Pin, GPIO_PIN_RESET);

  /*Configure GPIO pins : EncoderM2_B_Pin EncoderM3_B_Pin */
  GPIO_InitStruct.Pin = EncoderM2_B_Pin|EncoderM3_B_Pin;
  GPIO_InitStruct.Mode = GPIO_MODE_INPUT;
  GPIO_InitStruct.Pull = GPIO_NOPULL;
  HAL_GPIO_Init(GPIOA, &GPIO_InitStruct);

  /*Configure GPIO pin : Debug_Pin */
  GPIO_InitStruct.Pin = Debug_Pin;
  GPIO_InitStruct.Mode = GPIO_MODE_OUTPUT_PP;
  GPIO_InitStruct.Pull = GPIO_NOPULL;
  GPIO_InitStruct.Speed = GPIO_SPEED_FREQ_LOW;
  HAL_GPIO_Init(Debug_GPIO_Port, &GPIO_InitStruct);

  /*Configure GPIO pin : EncoderM4_B_Pin */
  GPIO_InitStruct.Pin = EncoderM4_B_Pin;
  GPIO_InitStruct.Mode = GPIO_MODE_INPUT;
  GPIO_InitStruct.Pull = GPIO_NOPULL;
  HAL_GPIO_Init(EncoderM4_B_GPIO_Port, &GPIO_InitStruct);

  /*Configure GPIO pin : EncoderM1_B_Pin */
  GPIO_InitStruct.Pin = EncoderM1_B_Pin;
  GPIO_InitStruct.Mode = GPIO_MODE_INPUT;
  GPIO_InitStruct.Pull = GPIO_NOPULL;
  HAL_GPIO_Init(EncoderM1_B_GPIO_Port, &GPIO_InitStruct);

}

/* USER CODE BEGIN 4 */
void HAL_ADC_ConvCpltCallback(ADC_HandleTypeDef *hadc)
{
	//HAL_GPIO_TogglePin(Debug_GPIO_Port, Debug_Pin);
    TessMain();
    //HAL_GPIO_TogglePin(Debug_GPIO_Port, Debug_Pin);
}

void HAL_UART_RxCpltCallback(UART_HandleTypeDef *huart)
{
	Tess_ComBT_RXClbk();
}

void HAL_TIM_IC_CaptureCallback(TIM_HandleTypeDef *htim)
{
	int32 EncoderPeriod;
	uint8 sign;

	if (htim->Instance == TIM2)
	{
		sign = HAL_GPIO_ReadPin(EncoderM1_B_GPIO_Port, EncoderM1_B_Pin);
		EncoderPeriod = HAL_TIM_ReadCapturedValue(htim, TIM_CHANNEL_1);
		EncoderPeriod = ApplySign(!sign)*EncoderPeriod;
		Tess_EcuSetEncoderPeriod(0, EncoderPeriod);
	}
	else if (htim->Instance == TIM3)
	{
		sign = HAL_GPIO_ReadPin(EncoderM2_B_GPIO_Port, EncoderM2_B_Pin);
		EncoderPeriod = HAL_TIM_ReadCapturedValue(htim, TIM_CHANNEL_1);
		EncoderPeriod = ApplySign(sign)*EncoderPeriod;
		Tess_EcuSetEncoderPeriod(1, EncoderPeriod);
	}
	else if (htim->Instance == TIM4)
	{
		sign = HAL_GPIO_ReadPin(EncoderM3_B_GPIO_Port, EncoderM3_B_Pin);
		EncoderPeriod = HAL_TIM_ReadCapturedValue(htim, TIM_CHANNEL_1);
		EncoderPeriod = ApplySign(!sign)*EncoderPeriod;
		Tess_EcuSetEncoderPeriod(2, EncoderPeriod);
	}
	else if (htim->Instance == TIM5)
	{
		sign = HAL_GPIO_ReadPin(EncoderM4_B_GPIO_Port, EncoderM4_B_Pin);
		EncoderPeriod = HAL_TIM_ReadCapturedValue(htim, TIM_CHANNEL_1);
		EncoderPeriod = ApplySign(sign)*EncoderPeriod;
		Tess_EcuSetEncoderPeriod(3, EncoderPeriod);
	}

}
/* USER CODE END 4 */

void HAL_TIM_PeriodElapsedCallback(TIM_HandleTypeDef *htim)
{
  if (htim->Instance == TIM6) {
    HAL_IncTick();
  }
}

void Error_Handler(void)
{
  __disable_irq();
  while (1)
  {
  }
}
